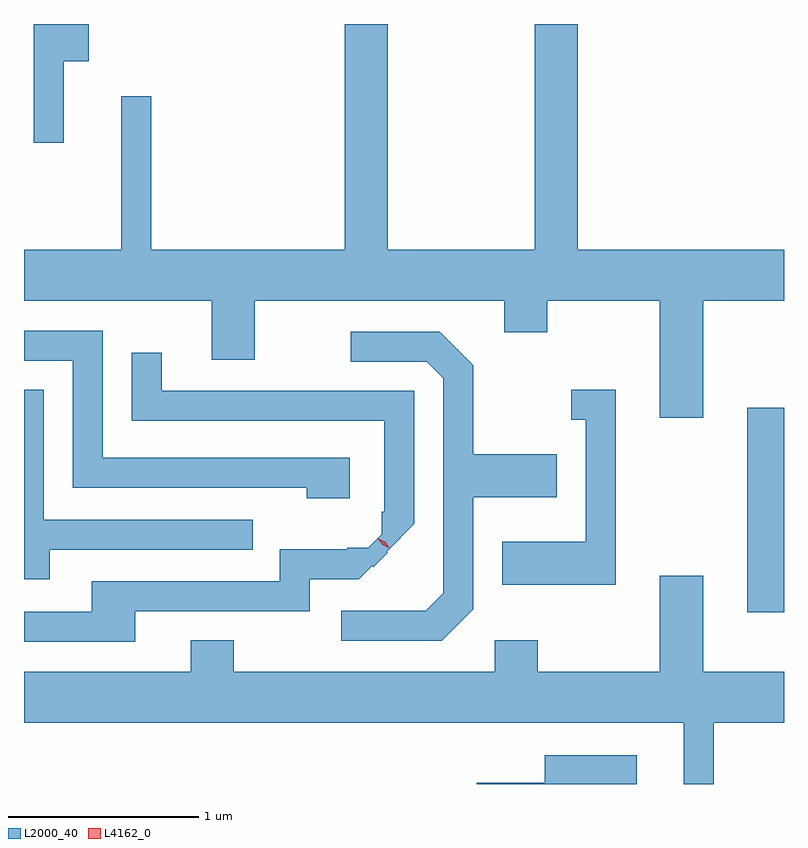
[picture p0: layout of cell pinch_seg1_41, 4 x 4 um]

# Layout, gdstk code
import gdstk
lib = gdstk.Library(unit=1e-6, precision=1e-09)
def R(c, l, rs):  # rectangles x0, y0, x1, y1
    for r in rs: c.add(gdstk.rectangle(r[:2], r[2:], *l))
def P(c, l, *ps):  # polygons
    for p in ps: c.add(gdstk.Polygon(p, *l))
L2000_40 = (2000, 40)
L4162_0 = (4162, 0)

pinch_seg1_41 = lib.new_cell('pinch_seg1_41')
R(pinch_seg1_41, L2000_40, [(1301.191,962.316,1301.384,963.394)])
P(pinch_seg1_41, L2000_40, [(1300.139,963.956),(1300.731,963.956),(1300.731,963.341),(1300.959,963.341),(1300.959,963.956),(1301.384,963.956),(1301.384,964.224),(1300.299,964.224),(1300.299,965.413),(1300.071,965.413),(1300.071,964.224),(1299.299,964.224),(1299.299,965.413),(1299.071,965.413),(1299.071,964.224),(1298.054,964.224),(1298.054,965.033),(1297.896,965.033),(1297.896,964.224),(1297.384,964.224),(1297.384,963.956),(1298.371,963.956),(1298.371,963.646),(1298.599,963.646),(1298.599,963.956),(1299.911,963.956),(1299.911,963.791),(1300.139,963.791)],
  [(1297.594,965.216),(1297.724,965.216),(1297.724,965.413),(1297.436,965.413),(1297.436,964.788),(1297.594,964.788)],
  [(1299.099,963.129),(1297.799,963.129),(1297.799,963.799),(1297.384,963.799),(1297.384,963.641),(1297.641,963.641),(1297.641,962.971),(1298.871,962.971),(1298.871,962.916),(1299.099,962.916)],
  [(1299.749,962.334),(1299.749,962.921),(1300.189,962.921),(1300.189,963.149),(1299.749,963.149),(1299.749,963.617),(1299.572,963.794),(1299.103,963.794),(1299.103,963.636),(1299.504,963.636),(1299.591,963.549),(1299.591,962.417),(1299.499,962.324),(1299.053,962.324),(1299.053,962.166),(1299.582,962.166)],
  [(1297.969,962.321),(1298.889,962.321),(1298.889,962.491),(1299.147,962.491),(1299.217,962.562),(1299.223,962.555),(1299.299,962.631),(1299.294,962.636),(1299.439,962.782),(1299.439,963.484),(1298.109,963.484),(1298.109,963.683),(1297.951,963.683),(1297.951,963.326),(1299.281,963.326),(1299.281,962.845),(1299.268,962.845),(1299.268,962.728),(1299.196,962.656),(1299.085,962.656),(1299.085,962.649),(1298.731,962.649),(1298.731,962.479),(1297.741,962.479),(1297.741,962.319),(1297.384,962.319),(1297.384,962.161),(1297.969,962.161)],
  [(1297.519,962.646),(1298.588,962.646),(1298.588,962.804),(1297.489,962.804),(1297.489,963.489),(1297.384,963.489),(1297.384,962.491),(1297.519,962.491)],
  [(1300.499,963.489),(1300.263,963.489),(1300.263,963.331),(1300.341,963.331),(1300.341,962.689),(1299.901,962.689),(1299.901,962.461),(1300.499,962.461)],
  [(1301.014,961.736),(1301.384,961.736),(1301.384,962.004),(1300.959,962.004),(1300.959,962.509),(1300.731,962.509),(1300.731,962.004),(1300.089,962.004),(1300.089,962.169),(1299.861,962.169),(1299.861,962.004),(1298.489,962.004),(1298.489,962.169),(1298.261,962.169),(1298.261,962.004),(1297.384,962.004),(1297.384,961.736),(1300.856,961.736),(1300.856,961.413),(1301.014,961.413)],
  [(1300.609,961.564),(1300.126,961.564),(1300.126,961.419),(1299.766,961.419),(1299.766,961.413),(1300.609,961.413)])
P(pinch_seg1_41, L4162_0, [(1299.308,962.653),(1299.271,962.672),(1299.245,962.705),(1299.245,962.706),(1299.245,962.706),(1299.283,962.687),(1299.309,962.654),(1299.309,962.653)],
  [(1299.304,962.658),(1299.272,962.673),(1299.25,962.702),(1299.25,962.702),(1299.251,962.702),(1299.284,962.688),(1299.305,962.659),(1299.305,962.658)])

lib.write_gds('pinch_seg1_41.gds')
